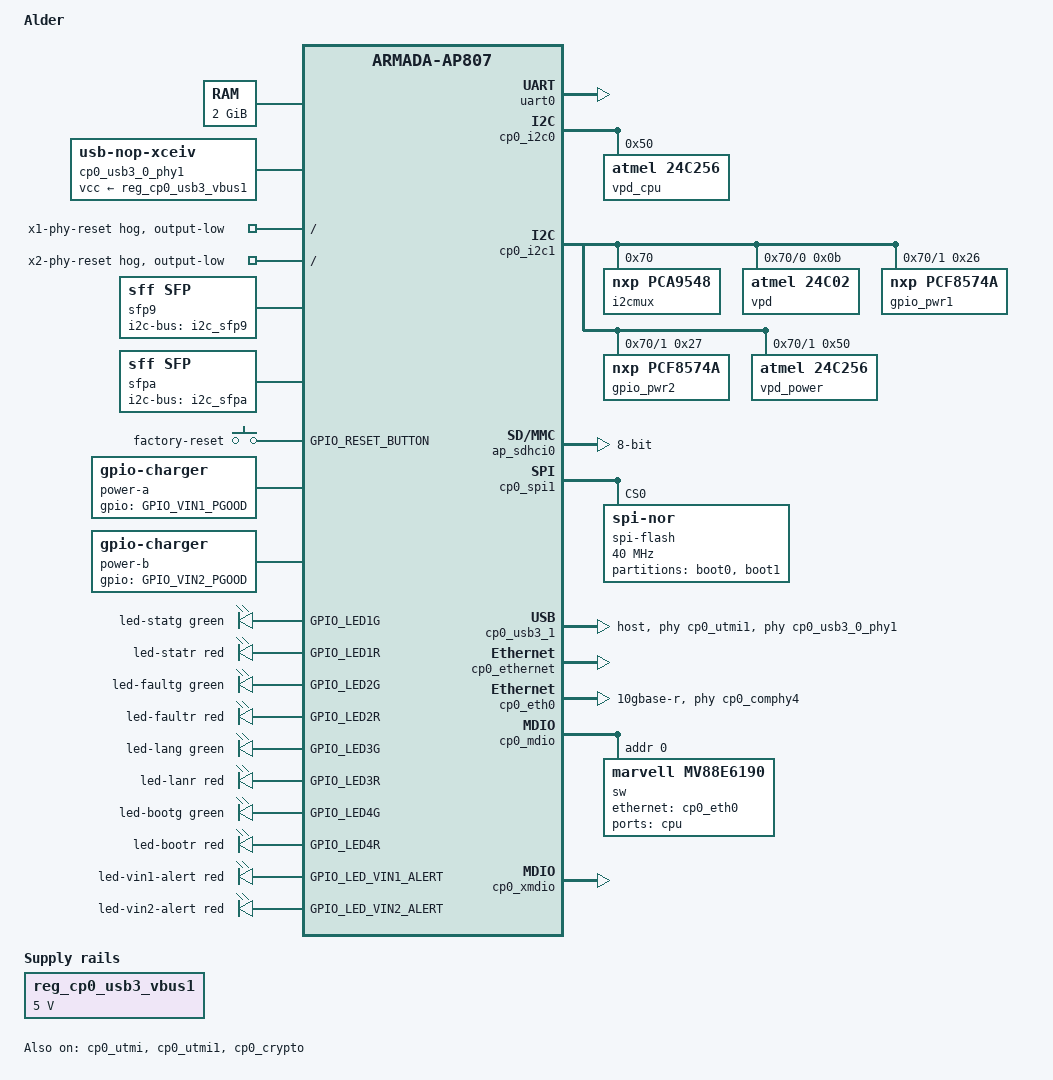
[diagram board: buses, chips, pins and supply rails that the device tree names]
// SPDX-License-Identifier: (GPL-2.0+ OR MIT)
/*
 * Copyright (C) 2021 Marvell International Ltd.
 * Copyright (C) 2023 Addiva Elektronik AB
 *
 * Device tree for Alder board
 */

#include <dt-bindings/input/input.h>
#include <dt-bindings/gpio/gpio.h>
#include <dt-bindings/leds/common.h>

#include "../marvell/cn9130-patched.dtsi"

#include "alder-mpp.h"

/ {
	model = "Alder";
	compatible = "alder,alder",
		"marvell,armada-ap807-quad",
		"marvell,armada-ap807";

	chosen {
		stdout-path = "serial0:115200n8";

		infix {
			vpds = <&vpd_cpu &vpd_product &vpd_power>;
			usb-ports = <&cp0_usb3_1>;
			usb-port-names = "USB";
		};
	};

	memory@0 {
		device_type = "memory";
		reg = <0x0 0x0 0x0 0x80000000>;
	};
};


/* UART0 (Console) */

&cp0_pinctrl {
	cp0_uart0_pins: cp0-uart0-pins {
		marvell,pins = CP_UA0_RXD(MPP_ID), CP_UA0_TXD(MPP_ID);
		marvell,function = "uart0";
	};
};

&uart0 {
	status = "okay";
	pinctrl-names = "default";
	pinctrl-0 = <&cp0_uart0_pins>;
};


/* GPIO */

&cp0_gpio1 {
	status = "okay";
};

&cp0_gpio2 {
	status = "okay";
};


/* I2C0 (EEPROM) */

&cp0_pinctrl {
	cp0_i2c0_pins: cp0-i2c0-pins {
		marvell,pins = CP_I2C0_SCK(MPP_ID), CP_I2C0_SDA(MPP_ID);
		marvell,function = "i2c0";
	};
};

&cp0_i2c0 {
	status = "okay";
	pinctrl-names = "default";
	pinctrl-0 = <&cp0_i2c0_pins>;

	vpd_cpu: eeprom@50 {
		// AT24C256C-MAHL-T
		compatible = "atmel,24c256";
                reg = <0x50>;

		infix,board = "cpu";
		infix,trusted;
	};
};


/* I2C1 (Mux) */

&cp0_pinctrl {
	cp0_i2c1_pins: cp0-i2c1-pins {
		marvell,pins = CP_I2C1_SCK(MPP_ID), CP_I2C1_SDA(MPP_ID);
		marvell,function = "i2c1";
	};
};

&cp0_i2c1 {
	status = "okay";
	pinctrl-names = "default";
	pinctrl-0 = <&cp0_i2c1_pins>;

	i2cmux@70 {
		compatible = "nxp,pca9548";
		#address-cells = <1>;
                #size-cells = <0>;
                reg = <0x70>;

		reset-gpios = I2C_RESETn(MPP_GPIO_REF);

		i2c_sysmgmt: i2c@0 {
			#address-cells = <1>;
			#size-cells = <0>;
			reg = <0>;
		};

		i2c_pwr: i2c@1 {
			#address-cells = <1>;
			#size-cells = <0>;
			reg = <1>;
		};

		i2c_sw: i2c@2 {
			#address-cells = <1>;
			#size-cells = <0>;
			reg = <2>;
		};

		i2c_sfp9: i2c@3 {
			#address-cells = <1>;
			#size-cells = <0>;
			reg = <3>;
		};

		i2c_sfpa: i2c@4 {
			#address-cells = <1>;
			#size-cells = <0>;
			reg = <4>;
		};

		i2c@5 {
			status = "disabled";
			#address-cells = <1>;
			#size-cells = <0>;
			reg = <5>;
		};

		i2c@6 {
			status = "disabled";
			#address-cells = <1>;
			#size-cells = <0>;
			reg = <6>;
		};

		i2c@7 {
			status = "disabled";
			#address-cells = <1>;
			#size-cells = <0>;
			reg = <7>;
		};

	};
};


/* System Management */

&i2c_sysmgmt {
	vpd_product: eeprom@b {
		label = "vpd";
                reg = <0x0b>;
		compatible = "atmel,24c02";

		infix,board = "product";

		nvmem-layout {
			compatible = "onie,tlv-layout";

			base_mac: mac-address {
				#nvmem-cell-cells = <1>;
			};
		};
	};
};

/* AP SDHCI (eMMC) */

&ap_sdhci0 {
	status = "okay";
	pinctrl-names = "default";
	/* pinctrl-0 = <&ap_emmc_pins>; No pinctrl in Linux? */
	bus-width = <8>;
	mmc-ddr-1_8v;
	mmc-hs400-1_8v;
};


/* SPI1 (Boot FLASH) */

&cp0_pinctrl {
	cp0_spi1_pins: cp0-spi-pins-0 {
		marvell,pins = \
			CP_SPI1_MISO(MPP_ID), CP_SPI1_CS0(MPP_ID), \
			CP_SPI1_MOSI(MPP_ID), CP_SPI1_SCK(MPP_ID);
		marvell,function = "spi1";
	};
};

&cp0_spi1 {
	status = "okay";
	pinctrl-names = "default";
	pinctrl-0 = <&cp0_spi1_pins>;

	/* Boot flash */
	spi-flash@0 {
		#address-cells = <0x1>;
		#size-cells = <0x1>;
		compatible = "jedec,spi-nor", "spi-flash";
		reg = <0x0>;
		/* On-board MUX does not allow higher frequencies */
		spi-max-frequency = <40000000>;

		partitions {
			compatible = "fixed-partitions";
			#address-cells = <1>;
			#size-cells = <1>;

			boot0@0 {
				label = "boot0";
				reg = <0x0 0x200000>;
			};

			boot1@200000 {
				label = "boot1";
				reg = <0x200000 0x200000>;
			};
		};
	};
};


/* USB1 */

/ {
	cp0_usb3_0_phy1: cp0_usb3_phy {
		compatible = "usb-nop-xceiv";
		vcc-supply = <&reg_cp0_usb3_vbus1>;
	};

	reg_cp0_usb3_vbus1: reg_cp0_usb3_vbus1 {
		compatible = "regulator-fixed";
		regulator-name = "cp0-xhci1-vbus";
		regulator-min-microvolt = <5000000>;
		regulator-max-microvolt = <5000000>;
		enable-active-high;
		gpio = USB1_VBUS_ENABLE(MPP_GPIO_REF);
	};
};

&cp0_utmi {
	status = "okay";
};

&cp0_utmi1 {
	status = "okay";
	dr_mode = "host";
};

&cp0_usb3_1 {
	status = "okay";
	usb-phy = <&cp0_usb3_0_phy1>;
	phys = <&cp0_utmi1>, <&cp0_comphy3 1>;
	phy-names = "usb", "usb3";
	dr_mode = "host";
};




/* ETH0 (DSA connection to switch) */

&cp0_crypto {
	status = "okay";
};

&cp0_ethernet {
	status = "okay";
};

&cp0_eth0 {
	status = "okay";
	phy-mode = "10gbase-r";
	phys = <&cp0_comphy4 0>;
	managed = "in-band-status";

	nvmem-cells = <&base_mac 0>;
	nvmem-cell-names = "mac-address";
};


/* MDIO (Switch) */

&cp0_pinctrl {
	cp0_mdio_pins: cp0-mdio-pins-0 {
		marvell,pins = CP_SMI_MDIO(MPP_ID), CP_SMI_MDC(MPP_ID);
		marvell,function = "ge";
	};
};

&cp0_mdio {
	status = "okay";
	pinctrl-names = "default";
	pinctrl-0 = <&cp0_mdio_pins>;

	sw: switch@0 {
		compatible = "marvell,mv88e6190";
		#address-cells = <1>;
		#size-cells = <0>;
		reg = <0>;

		reset-gpios = SW_RESETn(MPP_GPIO_REF);

		interrupts-extended = SW_INTn(MPP_IRQ_REF);
		interrupt-controller;

		dsa,member = <0 0>;

		ports {
			#address-cells = <1>;
			#size-cells = <0>;
			port@0 {
				reg = <0x0>;
				label = "cpu";
				ethernet = <&cp0_eth0>;
				phy-mode = "10gbase-r";
				fixed-link {
					speed = <10000>;
					full-duplex;
				};
			};

#define SWP_COMMON(_n, _label, _mac_offs, _phymode, _phy) \
				reg = <0x ## _n>; \
				label = _label; \
				phy-mode = _phymode; \
				phy-handle = <&_phy>; \
				\
				nvmem-cells = <&base_mac _mac_offs>; \
				nvmem-cell-names = "mac-address"

#define XSWP(_n, _label, _mac_offs, _phy) \
			port@_n { \
				SWP_COMMON(_n, _label, _mac_offs, "usxgmii", _phy); \
			}

#define GSWP(_n, _label, _mac_offs, _phy) \
			port@_n { \
				SWP_COMMON(_n, _label, _mac_offs, "gmii", _phy); \
				\
				leds { \
					#address-cells = <1>; \
					#size-cells = <0>; \
					\
					led@0 { \
						reg = <0>; \
						function = "tp"; \
						color = <LED_COLOR_ID_GREEN>; \
						default-state = "keep"; \
					}; \
					led@1 { \
						reg = <1>; \
						function = "tp"; \
						color = <LED_COLOR_ID_YELLOW>; \
						default-state = "off"; \
					}; \
				}; \
			}

			XSWP(9,  "x1",  1,  xphy9);
			XSWP(a,  "x2",  2,  xphya);

			GSWP(8,  "x3",  3, swphy8);
			GSWP(7,  "x4",  4, swphy7);
			GSWP(6,  "x5",  5, swphy6);
			GSWP(5,  "x6",  6, swphy5);
			GSWP(4,  "x7",  7, swphy4);
			GSWP(3,  "x8",  8, swphy3);
			GSWP(2,  "x9",  9, swphy2);
			GSWP(1, "x10", 10, swphy1);
#undef GSWP
#undef XSWP
#undef SWP_COMMON
		};

		mdio {
			#address-cells = <1>;
			#size-cells = <0>;

#define SWPHY(_n) \
			ethernet-phy@_n { \
				compatible = "ethernet-phy-ieee802.3-c22"; \
				reg = <_n>; \
				eee-broken-100tx; \
				eee-broken-1000t; \
			}

			swphy1: SWPHY(1);
			swphy2: SWPHY(2);
			swphy3: SWPHY(3);
			swphy4: SWPHY(4);
			swphy5: SWPHY(5);
			swphy6: SWPHY(6);
			swphy7: SWPHY(7);
			swphy8: SWPHY(8);
#undef SWPHY
		};
	};
};


/* XMDIO (88X3310P 10G PHYs) */

&cp0_pinctrl {
	cp0_xmdio_pins: cp0-xmdio-pins-0 {
		marvell,pins = CP_XSMI_MDIO(MPP_ID), CP_XSMI_MDC(MPP_ID);
		marvell,function = "xg";
	};
};

&ETH9_RESETn(MPP_GPIO_CHIP) {
	xphy9-reset-hog {
		gpio-hog;
		gpios = ETH9_RESETn(MPP_GPIO_REF_NO_CHIP);
		output-low;
		line-name = "x1-phy-reset";
	};
};

&ETH10_RESETn(MPP_GPIO_CHIP) {
	xphya-reset-hog {
		gpio-hog;
		gpios = ETH10_RESETn(MPP_GPIO_REF_NO_CHIP);
		output-low;
		line-name = "x2-phy-reset";
	};
};

&cp0_xmdio {
	status = "okay";
	pinctrl-names = "default";
	pinctrl-0 = <&cp0_xmdio_pins>;

	/* 88X3310 specifices 35ns minimum MDC period (28.57 MHz). */
	clock-frequency = <28571428>;

#define XPHY(_n, _sfp) \
	ethernet-phy@_n { \
		compatible = "ethernet-phy-ieee802.3-c45"; \
		reg = <_n>; \
		sfp = <&_sfp>; \
		\
		leds { \
			#address-cells = <1>; \
			#size-cells = <0>; \
			\
			led@0 { \
				reg = <0>; \
				function = "tp"; \
				color = <LED_COLOR_ID_YELLOW>; \
				default-state = "off"; \
				\
				marvell,media = "copper"; \
				marvell,polarity = "active-high"; \
			}; \
			led@1 { \
				reg = <1>; \
				function = "tp"; \
				color = <LED_COLOR_ID_GREEN>; \
				default-state = "keep"; \
				\
				marvell,media = "copper"; \
				marvell,polarity = "active-high"; \
			}; \
			\
			led@2 { \
				reg = <2>; \
				function = "sfp"; \
				color = <LED_COLOR_ID_YELLOW>; \
				default-state = "off"; \
				\
				marvell,media = "fiber"; \
				marvell,polarity = "active-high"; \
			}; \
			led@3 { \
				reg = <3>; \
				function = "sfp"; \
				color = <LED_COLOR_ID_GREEN>; \
				default-state = "keep"; \
				\
				marvell,media = "fiber"; \
				marvell,polarity = "active-high"; \
			}; \
		}; \
	}

	xphy9: XPHY(4, sfp9);
	xphya: XPHY(5, sfpa);
#undef XPHY
};

/ {
	sfp9: sfp@9 {
		compatible = "sff,sfp";
		i2c-bus = <&i2c_sfp9>;
		mod-def0-gpios = SFP9_MOD_ABS(MPP_GPIO_REF);
		los-gpios = SFP9_RX_LOS(MPP_GPIO_REF);
		tx-disable-gpios = SFP9_TX_DISABLE(MPP_GPIO_REF);
		tx-fault-gpios = SFP9_TX_FAULT(MPP_GPIO_REF);
		rate-select0-gpios = SFP9_RS0(MPP_GPIO_REF);
		rate-select1-gpios = SFP9_RS1(MPP_GPIO_REF);
		maximum-power-milliwatt = <3000>;
	};

	sfpa: sfp@a {
		compatible = "sff,sfp";
		i2c-bus = <&i2c_sfpa>;
		mod-def0-gpios = SFP10_MOD_ABS(MPP_GPIO_REF);
		los-gpios = SFP10_RX_LOS(MPP_GPIO_REF);
		tx-disable-gpios = SFP10_TX_DISABLE(MPP_GPIO_REF);
		tx-fault-gpios = SFP10_TX_FAULT(MPP_GPIO_REF);
		rate-select0-gpios = SFP10_RS0(MPP_GPIO_REF);
		rate-select1-gpios = SFP10_RS1(MPP_GPIO_REF);
		maximum-power-milliwatt = <3000>;
	};
};


/* Power Board */

&cp0_pinctrl {
	cp0_pwr_gpio_pins: cp0-pwr-gpio-0 {
		marvell,pins = I2C_IRQ(MPP_ID);
		marvell,function = "gpio";
	};
};

&i2c_pwr {
	// Shared IRQ on I2C_IRQ
	pinctrl-names = "default";
	pinctrl-0 = <&cp0_pwr_gpio_pins>;

	// 0x26  U13 PCF8574        GPIO I/O
	gpio_pwr1: gpio@26 {
		compatible = "nxp,pcf8574a";
		#gpio-cells = <2>;
		gpio-controller;
                #interrupt-cells = <2>;
                interrupt-controller;
		interrupts-extended = I2C_IRQ(MPP_IRQ_REF);
		reg = <0x26>;
#define GPIO_PWR1_UNUSED0	gpio_pwr1 0 GPIO_ACTIVE_HIGH
#define GPIO_PWR1_UNUSED1	gpio_pwr1 1 GPIO_ACTIVE_HIGH
#define GPIO_POE_PGOOD		gpio_pwr1 2 GPIO_ACTIVE_HIGH
#define GPIO_RESET_BUTTON	gpio_pwr1 3 GPIO_ACTIVE_LOW
#define GPIO_VIN1_PGOOD		gpio_pwr1 4 GPIO_ACTIVE_LOW
#define GPIO_LED_VIN2_ALERT	gpio_pwr1 5 GPIO_ACTIVE_LOW
#define GPIO_VIN2_PGOOD		gpio_pwr1 6 GPIO_ACTIVE_LOW
#define GPIO_LED_VIN1_ALERT	gpio_pwr1 7 GPIO_ACTIVE_LOW
	};

	//0x27  U3  PCF8574        GPIO LED
	gpio_pwr2: gpio@27 {
		compatible = "nxp,pcf8574a";
		#gpio-cells = <2>;
		gpio-controller;
                #interrupt-cells = <2>;
                interrupt-controller;
		interrupts-extended = I2C_IRQ(MPP_IRQ_REF);
		reg = <0x27>;
#define GPIO_LED2G		gpio_pwr2 0 GPIO_ACTIVE_LOW
#define GPIO_LED2R		gpio_pwr2 1 GPIO_ACTIVE_LOW
#define GPIO_LED1G		gpio_pwr2 2 GPIO_ACTIVE_LOW
#define GPIO_LED1R		gpio_pwr2 3 GPIO_ACTIVE_LOW
#define GPIO_LED4G		gpio_pwr2 4 GPIO_ACTIVE_LOW
#define GPIO_LED4R		gpio_pwr2 5 GPIO_ACTIVE_LOW
#define GPIO_LED3G		gpio_pwr2 6 GPIO_ACTIVE_LOW
#define GPIO_LED3R		gpio_pwr2 7 GPIO_ACTIVE_LOW
	};

	//0x28* U5  TPS23861PWR    PoE Controller
	//0x30  U5  TPS23861PWR    PoE Controller broadcast

	//0x50  U15 AT24C256C      EEPROM
	vpd_power: eeprom@50 {
		// AT24C256C-MAHL-T
		compatible = "atmel,24c256";
                reg = <0x50>;

		infix,board = "power";
	};
};

/* Reset button */
/ {
	gpio-keys {
		compatible = "gpio-keys";
		up {
			label = "factory-reset";
			linux,code = <KEY_RESTART>;
			gpios = <&GPIO_RESET_BUTTON>;
		};
	};
};

/* System LEDs */
/ {
	power-a {
		compatible = "gpio-charger";
		charger-type = "mains";
		gpios = <&GPIO_VIN1_PGOOD>;
	};

	power-b {
		compatible = "gpio-charger";
		charger-type = "mains";
		gpios = <&GPIO_VIN2_PGOOD>;
	};

	leds: leds {
		compatible = "gpio-leds";

		led-statg {
			function = LED_FUNCTION_STATUS;
			color = <LED_COLOR_ID_GREEN>;
			gpios = <&GPIO_LED1G>;
		};

		led-statr {
			function = LED_FUNCTION_STATUS;
			color = <LED_COLOR_ID_RED>;
			gpios = <&GPIO_LED1R>;
		};

		led-faultg {
			function = LED_FUNCTION_FAULT;
			color = <LED_COLOR_ID_GREEN>;
			gpios = <&GPIO_LED2G>;
		};

		led-faultr {
			function = LED_FUNCTION_FAULT;
			color = <LED_COLOR_ID_RED>;
			gpios = <&GPIO_LED2R>;
		};

		led-lang {
			function = LED_FUNCTION_LAN;
			color = <LED_COLOR_ID_GREEN>;
			gpios = <&GPIO_LED3G>;
		};

		led-lanr {
			function = LED_FUNCTION_LAN;
			color = <LED_COLOR_ID_RED>;
			gpios = <&GPIO_LED3R>;
		};

		led-bootg {
			function = LED_FUNCTION_BOOT;
			color = <LED_COLOR_ID_GREEN>;
			gpios = <&GPIO_LED4G>;
		};

		led-bootr {
			function = LED_FUNCTION_BOOT;
			color = <LED_COLOR_ID_RED>;
			gpios = <&GPIO_LED4R>;
			default-state = "on";
			linux,default-trigger = "timer";
		};

		led-vin1-alert {
			function = "power-a";
			color = <LED_COLOR_ID_RED>;
			gpios = <&GPIO_LED_VIN1_ALERT>;
		};

		led-vin2-alert {
			function = "power-b";
			color = <LED_COLOR_ID_RED>;
			gpios = <&GPIO_LED_VIN2_ALERT>;
		};
	};
};

/* Watchdog */

&cp0_pinctrl {
	watchdog_pins: watchdog-pins {
		marvell,pins = WDT_TICKLE(MPP_ID);
		marvell,function = "gpio";
	};
};

/ {
        sysmgmt-watchdog {
                pinctrl-names = "default";
                pinctrl-0 = <&watchdog_pins>;
                compatible = "linux,wdt-gpio";
                gpios = WDT_TICKLE(MPP_GPIO_REF);
                always-running;
                hw_algo = "toggle";
                hw_margin_ms = <20000>; /* toggle period must be below 1 minute */
        };
};
